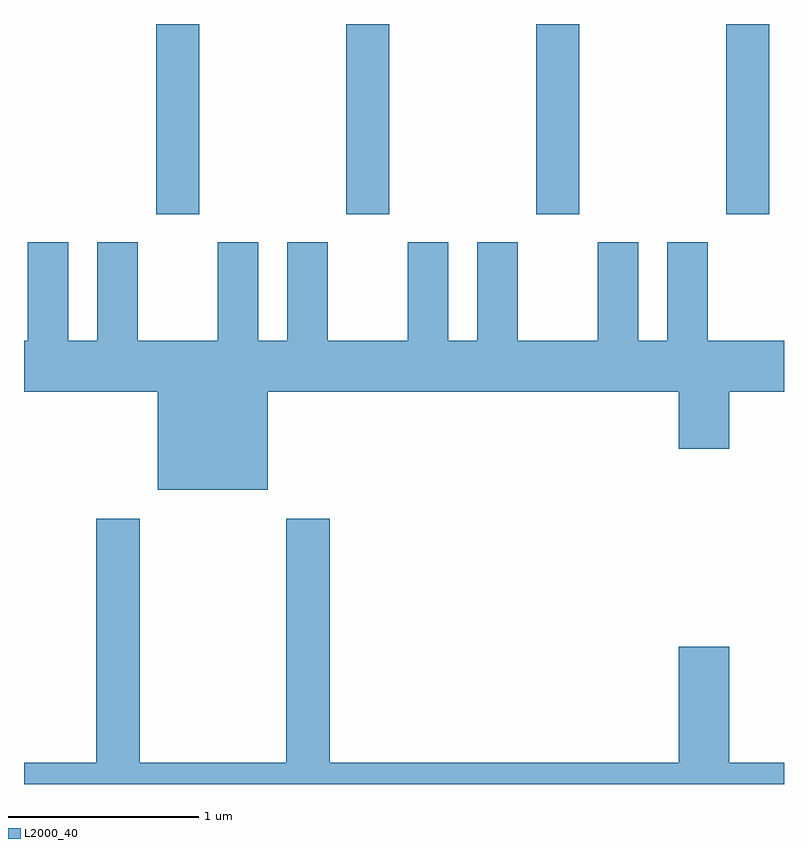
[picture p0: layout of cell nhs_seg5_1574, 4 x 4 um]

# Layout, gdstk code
import gdstk
lib = gdstk.Library(unit=1e-6, precision=1e-09)
def R(c, l, rs):  # rectangles x0, y0, x1, y1
    for r in rs: c.add(gdstk.rectangle(r[:2], r[2:], *l))
def A(c, l, x, y, w, h, nx, ny, dx, dy):  # array of equal rectangles
    R(c, l, [(x+i*dx, y+j*dy, x+i*dx+w, y+j*dy+h) for i in range(nx) for j in range(ny)])
def P(c, l, *ps):  # polygons
    for p in ps: c.add(gdstk.Polygon(p, *l))
L2000_40 = (2000, 40)

nhs_seg5_1574 = lib.new_cell('nhs_seg5_1574')
A(nhs_seg5_1574, L2000_40, 232.306, 1451.071, 0.228, 1.001, 4, 1, 1, 0)
P(nhs_seg5_1574, L2000_40, [(232.894,1450.136),(235.056,1450.136),(235.056,1449.836),(235.324,1449.836),(235.324,1450.136),(235.611,1450.136),(235.611,1450.404),(235.209,1450.404),(235.209,1450.924),(234.996,1450.924),(234.996,1450.404),(234.844,1450.404),(234.844,1450.924),(234.631,1450.924),(234.631,1450.404),(234.209,1450.404),(234.209,1450.924),(233.996,1450.924),(233.996,1450.404),(233.844,1450.404),(233.844,1450.924),(233.631,1450.924),(233.631,1450.404),(233.209,1450.404),(233.209,1450.924),(232.996,1450.924),(232.996,1450.404),(232.844,1450.404),(232.844,1450.924),(232.631,1450.924),(232.631,1450.404),(232.209,1450.404),(232.209,1450.924),(231.996,1450.924),(231.996,1450.404),(231.844,1450.404),(231.844,1450.924),(231.631,1450.924),(231.631,1450.404),(231.611,1450.404),(231.611,1450.136),(232.316,1450.136),(232.316,1449.621),(232.894,1449.621)],
  [(235.611,1448.184),(235.324,1448.184),(235.324,1448.794),(235.056,1448.794),(235.056,1448.184),(233.219,1448.184),(233.219,1449.469),(232.991,1449.469),(232.991,1448.184),(232.219,1448.184),(232.219,1449.469),(231.991,1449.469),(231.991,1448.184),(231.611,1448.184),(231.611,1448.072),(235.611,1448.072)])

lib.write_gds('nhs_seg5_1574.gds')
